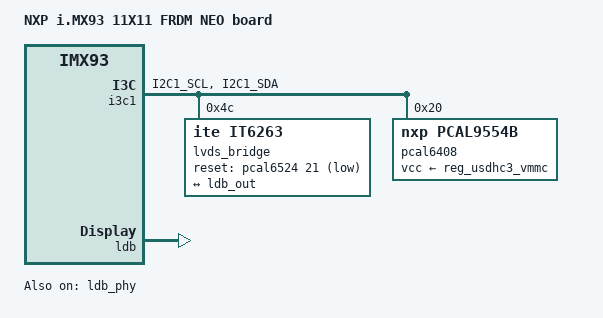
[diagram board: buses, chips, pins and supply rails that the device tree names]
// SPDX-License-Identifier: (GPL-2.0+ OR MIT)
/*
 * Copyright 2024 NXP
 * Copyright 2026 GIS
 */

#include "imx93-11x11-frdm.dts"
#include <dt-bindings/i3c/i3c.h>

/ {
	model = "NXP i.MX93 11X11 FRDM NEO board";
	compatible = "gis,imx93-gis-frdm-neo", "fsl,imx93-11x11-frdm", "fsl,imx93";

	aliases {
		/delete-property/ i2c0;
	};
};

/delete-node/ &lpi2c1;

/*
 * Keep WLAN / PCAL6408 power supply always on so that the on-board PCAL6408
 * does not sit unpowered on the I3C1 bus and pull down SCL/SDA.
 */
&reg_usdhc3_vmmc {
	regulator-always-on;
	regulator-boot-on;
};

&i3c1 {
	pinctrl-names = "default", "sleep";
	pinctrl-0 = <&pinctrl_i3c1>;
	pinctrl-1 = <&pinctrl_i3c1>;
	/*
	 * Assert PCAL6408 power (pin 20) via pinctrl-assert-gpios.
	 * This ensures the I/O expander is powered and defers i3c1 probe
	 * until the pcal6524 expander on lpi2c2 is ready.
	 */
	pinctrl-assert-gpios = <&pcal6524 20 GPIO_ACTIVE_HIGH>;
	i2c-scl-hz = <400000>;
	status = "okay";

	/*
	 * On-board LVDS to HDMI converter (IT6263).
	 * Connects via I2C/I3C bus (address 0x4c).
	 * Uses (I2C_FM | I2C_FILTER) to operate in Mixed Fast mode (0x10).
	 * Hardware reset-gpio is driven by it6263 driver via pcal6524 pin 21
	 * to ensure the chip receives the required 41ms reset timing.
	 */
	lvds_bridge: lvds-to-hdmi-bridge@4c {
		compatible = "ite,it6263";
		reg = <0x4c 0x00 (I2C_FM | I2C_FILTER)>;
		reset-gpio = <&pcal6524 21 GPIO_ACTIVE_LOW>;
		status = "okay";

		port {
			it6263_0_in: endpoint {
				remote-endpoint = <&ldb_out>;
			};
		};
	};

	/*
	 * On-board GPIO expander (PCAL6408).
	 */
	pcal6408: gpio@20 {
		compatible = "nxp,pcal9554b";
		reg = <0x20 0x00 (I2C_FM | I2C_FILTER)>;
		gpio-controller;
		#gpio-cells = <2>;
		vcc-supply = <&reg_usdhc3_vmmc>;
		status = "okay";
	};

	/*
	 * External Native I3C Target Device on Header P12 (Pin 7: SCL, Pin 9: SDA)
	 * For userspace access or dynamic discovery (ENTDAA), Linux I3C bus
	 * will automatically scan and expose devices in /sys/bus/i3c/devices/
	 * and /dev/i3c-*.
	 */
};

&ldb {
	status = "okay";

	lvds-channel@0 {
		status = "okay";

		port@1 {
			reg = <1>;

			ldb_out: endpoint {
				remote-endpoint = <&it6263_0_in>;
			};
		};
	};
};

&ldb_phy {
	status = "okay";
};

&iomuxc {
	pinctrl_i3c1: i3c1grp {
		fsl,pins = <
			MX93_PAD_I2C1_SCL__I3C1_SCL	0x40000b9e
			MX93_PAD_I2C1_SDA__I3C1_SDA	0x40000b9e
		>;
	};
};
